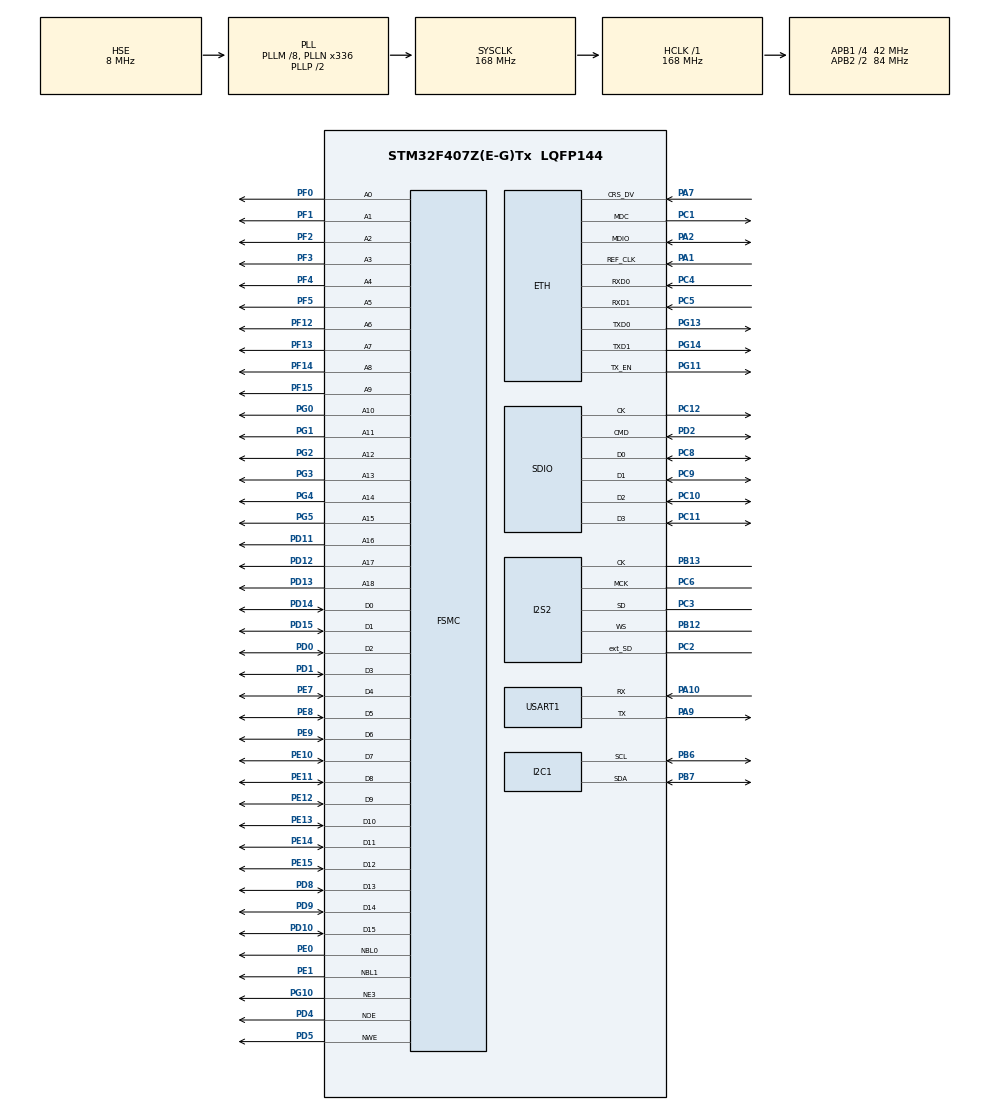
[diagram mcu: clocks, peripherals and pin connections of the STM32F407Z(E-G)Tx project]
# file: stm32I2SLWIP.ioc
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Dma.Request0=SPI2_TX
Dma.Request1=SDIO_RX
Dma.Request2=SDIO_TX
Dma.SDIO_RX.1.Direction=DMA_PERIPH_TO_MEMORY
Dma.SDIO_RX.1.FIFOMode=DMA_FIFOMODE_ENABLE
Dma.SDIO_RX.1.FIFOThreshold=DMA_FIFO_THRESHOLD_FULL
Dma.SDIO_RX.1.Instance=DMA2_Stream3
Dma.SDIO_RX.1.MemBurst=DMA_MBURST_SINGLE
Dma.SDIO_RX.1.MemDataAlignment=DMA_MDATAALIGN_BYTE
Dma.SDIO_RX.1.MemInc=DMA_MINC_ENABLE
Dma.SDIO_RX.1.Mode=DMA_PFCTRL
Dma.SDIO_RX.1.PeriphBurst=DMA_PBURST_INC4
Dma.SDIO_RX.1.PeriphDataAlignment=DMA_PDATAALIGN_WORD
Dma.SDIO_RX.1.PeriphInc=DMA_PINC_DISABLE
Dma.SDIO_RX.1.Priority=DMA_PRIORITY_LOW
Dma.SDIO_TX.2.Direction=DMA_MEMORY_TO_PERIPH
Dma.SDIO_TX.2.FIFOMode=DMA_FIFOMODE_ENABLE
Dma.SDIO_TX.2.FIFOThreshold=DMA_FIFO_THRESHOLD_FULL
Dma.SDIO_TX.2.Instance=DMA2_Stream6
Dma.SDIO_TX.2.MemBurst=DMA_MBURST_SINGLE
Dma.SDIO_TX.2.MemDataAlignment=DMA_MDATAALIGN_BYTE
Dma.SDIO_TX.2.MemInc=DMA_MINC_ENABLE
Dma.SDIO_TX.2.Mode=DMA_PFCTRL
Dma.SDIO_TX.2.PeriphBurst=DMA_PBURST_INC4
Dma.SDIO_TX.2.PeriphDataAlignment=DMA_PDATAALIGN_WORD
Dma.SDIO_TX.2.PeriphInc=DMA_PINC_DISABLE
Dma.SDIO_TX.2.Priority=DMA_PRIORITY_LOW
Dma.SPI2_TX.0.Direction=DMA_MEMORY_TO_PERIPH
Dma.SPI2_TX.0.FIFOMode=DMA_FIFOMODE_ENABLE
Dma.SPI2_TX.0.FIFOThreshold=DMA_FIFO_THRESHOLD_FULL
Dma.SPI2_TX.0.Instance=DMA1_Stream4
Dma.SPI2_TX.0.MemBurst=DMA_MBURST_SINGLE
Dma.SPI2_TX.0.MemDataAlignment=DMA_MDATAALIGN_HALFWORD
Dma.SPI2_TX.0.MemInc=DMA_MINC_ENABLE
Dma.SPI2_TX.0.Mode=DMA_NORMAL
Dma.SPI2_TX.0.PeriphBurst=DMA_PBURST_SINGLE
Dma.SPI2_TX.0.PeriphDataAlignment=DMA_PDATAALIGN_HALFWORD
Dma.SPI2_TX.0.PeriphInc=DMA_PINC_DISABLE
Dma.SPI2_TX.0.Priority=DMA_PRIORITY_LOW
ETH.MediaInterface=ETH_MEDIA_INTERFACE_RMII
ETH.PHY_DUPLEX_STATUS=0x0010
ETH.PHY_Name_RMII=DP83848_PHY_ADDRESS
ETH.PHY_SPEED_STATUS=0x0004
ETH.PHY_SR=0x31
FATFS.USE_DMA_CODE_SD=1
FATFS._CODE_PAGE=936
FATFS._MAX_SS=4096
FSMC.AddressSetupTime3=5
FSMC.BusTurnAroundDuration3=0
FSMC.DataSetupTime3=6
FSMC.WriteOperation3=FSMC_WRITE_OPERATION_ENABLE
I2S2.AudioFreq=I2S_AUDIOFREQ_16K
I2S2.ErrorAudioFreq=1.9 %
I2S2.FullDuplexMode=I2S_FULLDUPLEXMODE_ENABLE
I2S2.Instance=SPI$Index
I2S2.RealAudioFreq=16.304 KHz
I2S2.VirtualMode=I2S_MODE_MASTER
LWIP.GATEWAY_ADDRESS=192.168.001.001
LWIP.IP_ADDRESS=192.168.001.199
LWIP.LWIP_DHCP=0
LWIP.MEMP_NUM_TCP_SEG=1000
LWIP.MEM_SIZE=16*1024
LWIP.NETMASK_ADDRESS=255.255.255.000
LWIP.PBUF_POOL_BUFSIZE=1024
LWIP.TCP_MSS=1024
LWIP.TCP_SND_BUF=4096
LWIP.TCP_SND_QUEUELEN=1000
LWIP.TCP_WND=4096
LWIP.Version=v2.1.2_Cube
Mcu.Family=STM32F4
Mcu.Name=STM32F407Z(E-G)Tx
Mcu.Package=LQFP144
NVIC.DMA1_Stream4_IRQn=true\:2\:0\:true\:false\:true\:false\:true
NVIC.DMA2_Stream3_IRQn=true\:0\:0\:false\:false\:true\:false\:true
NVIC.DMA2_Stream6_IRQn=true\:0\:0\:false\:false\:true\:false\:true
NVIC.ETH_IRQn=true\:3\:0\:true\:false\:true\:true\:true
NVIC.PriorityGroup=NVIC_PRIORITYGROUP_4
NVIC.SDIO_IRQn=true\:0\:0\:false\:false\:true\:true\:true
PA1.Mode=RMII
PA1.Signal=ETH_REF_CLK
PA10.Mode=Asynchronous
PA10.Signal=USART1_RX
PA2.Mode=RMII
PA2.Signal=ETH_MDIO
PA7.Mode=RMII
PA7.Signal=ETH_CRS_DV
PA9.Mode=Asynchronous
PA9.Signal=USART1_TX
PB12.Mode=Full_Duplex_Master
PB12.Signal=I2S2_WS
PB13.Mode=Full_Duplex_Master
PB13.Signal=I2S2_CK
PB6.GPIO_Pu=GPIO_PULLUP
PB6.Mode=I2C
PB6.Signal=I2C1_SCL
PB7.GPIO_Pu=GPIO_PULLUP
PB7.Mode=I2C
PB7.Signal=I2C1_SDA
PC1.Mode=RMII
PC1.Signal=ETH_MDC
PC10.Mode=SD_4_bits_Wide_bus
PC10.Signal=SDIO_D2
PC11.Mode=SD_4_bits_Wide_bus
PC11.Signal=SDIO_D3
PC12.Mode=SD_4_bits_Wide_bus
PC12.Signal=SDIO_CK
PC2.Mode=Full_Duplex_Master
PC2.Signal=I2S2_ext_SD
PC3.Mode=Full_Duplex_Master
PC3.Signal=I2S2_SD
PC4.Mode=RMII
PC4.Signal=ETH_RXD0
PC5.Mode=RMII
PC5.Signal=ETH_RXD1
PC6.Mode=Master_Clock_Activated
PC6.Signal=I2S2_MCK
PC8.Mode=SD_4_bits_Wide_bus
PC8.Signal=SDIO_D0
PC9.Mode=SD_4_bits_Wide_bus
PC9.Signal=SDIO_D1
PD0.Signal=FSMC_D2_DA2
PD1.Signal=FSMC_D3_DA3
PD10.Signal=FSMC_D15_DA15
PD11.Signal=FSMC_A16_CLE
PD12.Signal=FSMC_A17_ALE
PD13.Signal=FSMC_A18
PD14.Signal=FSMC_D0_DA0
PD15.Signal=FSMC_D1_DA1
PD2.Mode=SD_4_bits_Wide_bus
PD2.Signal=SDIO_CMD
PD4.Signal=FSMC_NOE
PD5.Signal=FSMC_NWE
PD8.Signal=FSMC_D13_DA13
PD9.Signal=FSMC_D14_DA14
PE0.Signal=FSMC_NBL0
PE1.Signal=FSMC_NBL1
PE10.Signal=FSMC_D7_DA7
PE11.Signal=FSMC_D8_DA8
PE12.Signal=FSMC_D9_DA9
PE13.Signal=FSMC_D10_DA10
PE14.Signal=FSMC_D11_DA11
PE15.Signal=FSMC_D12_DA12
PE7.Signal=FSMC_D4_DA4
PE8.Signal=FSMC_D5_DA5
PE9.Signal=FSMC_D6_DA6
PF0.Signal=FSMC_A0
PF1.Signal=FSMC_A1
PF12.Signal=FSMC_A6
PF13.Signal=FSMC_A7
PF14.Signal=FSMC_A8
PF15.Signal=FSMC_A9
PF2.Signal=FSMC_A2
PF3.Signal=FSMC_A3
PF4.Signal=FSMC_A4
PF5.Signal=FSMC_A5
PG0.Signal=FSMC_A10
PG1.Signal=FSMC_A11
PG10.Mode=NorPsramChipSelect3_3
PG10.Signal=FSMC_NE3
PG11.Mode=RMII
PG11.Signal=ETH_TX_EN
PG13.Mode=RMII
PG13.Signal=ETH_TXD0
PG14.Mode=RMII
PG14.Signal=ETH_TXD1
PG2.Signal=FSMC_A12
PG3.Signal=FSMC_A13
PG4.Signal=FSMC_A14
PG5.Signal=FSMC_A15
PH0-OSC_IN.Mode=HSE-External-Oscillator
PH0-OSC_IN.Signal=RCC_OSC_IN
PH1-OSC_OUT.Mode=HSE-External-Oscillator
PH1-OSC_OUT.Signal=RCC_OSC_OUT
ProjectManager.HeapSize=0x1000
ProjectManager.StackSize=0x1100
ProjectManager.TargetToolchain=STM32CubeIDE
RCC.48MHZClocksFreq_Value=48000000
RCC.AHBFreq_Value=168000000
RCC.APB1CLKDivider=RCC_HCLK_DIV4
RCC.APB1Freq_Value=42000000
RCC.APB1TimFreq_Value=84000000
RCC.APB2CLKDivider=RCC_HCLK_DIV2
RCC.APB2Freq_Value=84000000
RCC.APB2TimFreq_Value=168000000
RCC.CortexFreq_Value=168000000
RCC.HCLKFreq_Value=168000000
RCC.HSE_VALUE=8000000
RCC.HSI_VALUE=16000000
RCC.LSE_VALUE=32768
RCC.PLLM=8
RCC.PLLN=336
RCC.PLLQ=7
RCC.PLLSourceVirtual=RCC_PLLSOURCE_HSE
RCC.SYSCLKFreq_VALUE=168000000
RCC.SYSCLKSource=RCC_SYSCLKSOURCE_PLLCLK
RCC.VCOOutputFreq_Value=336000000
SDIO.ClockDiv=2
SH.FSMC_A0.0=FSMC_A0,19b-a3
SH.FSMC_A1.0=FSMC_A1,19b-a3
SH.FSMC_A10.0=FSMC_A10,19b-a3
SH.FSMC_A11.0=FSMC_A11,19b-a3
SH.FSMC_A12.0=FSMC_A12,19b-a3
SH.FSMC_A13.0=FSMC_A13,19b-a3
SH.FSMC_A14.0=FSMC_A14,19b-a3
SH.FSMC_A15.0=FSMC_A15,19b-a3
SH.FSMC_A16_CLE.0=FSMC_A16,19b-a3
SH.FSMC_A17_ALE.0=FSMC_A17,19b-a3
SH.FSMC_A18.0=FSMC_A18,19b-a3
SH.FSMC_A2.0=FSMC_A2,19b-a3
SH.FSMC_A3.0=FSMC_A3,19b-a3
SH.FSMC_A4.0=FSMC_A4,19b-a3
SH.FSMC_A5.0=FSMC_A5,19b-a3
SH.FSMC_A6.0=FSMC_A6,19b-a3
SH.FSMC_A7.0=FSMC_A7,19b-a3
SH.FSMC_A8.0=FSMC_A8,19b-a3
SH.FSMC_A9.0=FSMC_A9,19b-a3
SH.FSMC_D0_DA0.0=FSMC_D0,16b-d3
SH.FSMC_D10_DA10.0=FSMC_D10,16b-d3
SH.FSMC_D11_DA11.0=FSMC_D11,16b-d3
SH.FSMC_D12_DA12.0=FSMC_D12,16b-d3
SH.FSMC_D13_DA13.0=FSMC_D13,16b-d3
SH.FSMC_D14_DA14.0=FSMC_D14,16b-d3
SH.FSMC_D15_DA15.0=FSMC_D15,16b-d3
SH.FSMC_D1_DA1.0=FSMC_D1,16b-d3
SH.FSMC_D2_DA2.0=FSMC_D2,16b-d3
SH.FSMC_D3_DA3.0=FSMC_D3,16b-d3
SH.FSMC_D4_DA4.0=FSMC_D4,16b-d3
SH.FSMC_D5_DA5.0=FSMC_D5,16b-d3
SH.FSMC_D6_DA6.0=FSMC_D6,16b-d3
SH.FSMC_D7_DA7.0=FSMC_D7,16b-d3
SH.FSMC_D8_DA8.0=FSMC_D8,16b-d3
SH.FSMC_D9_DA9.0=FSMC_D9,16b-d3
SH.FSMC_NBL0.0=FSMC_NBL0,2ByteEnable3
SH.FSMC_NBL1.0=FSMC_NBL1,2ByteEnable3
SH.FSMC_NOE.0=FSMC_NOE,Sram3
SH.FSMC_NWE.0=FSMC_NWE,Sram3
USART1.VirtualMode=VM_ASYNC
VP_FATFS_VS_SDIO.Mode=SDIO
VP_LWIP_VS_Enabled.Mode=Enabled
board=custom

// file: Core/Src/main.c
/* USER CODE BEGIN Header */
/**
 ******************************************************************************
 * @file           : main.c
 * @brief          : Main program body
 ******************************************************************************
 * @attention
 *
 * Copyright (c) 2025 STMicroelectronics.
 * All rights reserved.
 *
 * This software is licensed under terms that can be found in the LICENSE file
 * in the root directory of this software component.
 * If no LICENSE file comes with this software, it is provided AS-IS.
 *
 ******************************************************************************
 */
/* USER CODE END Header */
#include "main.h"
#include "fatfs.h"
#include "lwip.h"

/* USER CODE BEGIN Includes */
#include "stdio.h"
#include "tcpClientRAW.h"
#include "i2s.h"
#define MUL 20
#define AKA (MUL*10/4)
#include "audio_player.h"
extern FATFS UsbDiskFatFs2;
extern FRESULT res2;
/* USER CODE END Includes */

/* USER CODE BEGIN PTD */
#include <string.h>
/* USER CODE END PTD */

/* USER CODE BEGIN PM */
extern FATFS UsbDiskFatFs2;
char UsbDiskPath[4] = { 0 };
extern FRESULT res2;

/* USER CODE END PM */

I2C_HandleTypeDef hi2c1;

I2S_HandleTypeDef hi2s2;
DMA_HandleTypeDef hdma_spi2_tx;

SD_HandleTypeDef hsd;
DMA_HandleTypeDef hdma_sdio_rx;
DMA_HandleTypeDef hdma_sdio_tx;

UART_HandleTypeDef huart1;

SRAM_HandleTypeDef hsram3;

void SystemClock_Config(void);
static void MX_GPIO_Init(void);
static void MX_DMA_Init(void);
static void MX_I2S2_Init(void);
static void MX_I2C1_Init(void);
static void MX_FSMC_Init(void);
static void MX_SDIO_SD_Init(void);
static void MX_USART1_UART_Init(void);

/* USER CODE BEGIN 0 */

#ifdef __GNUC__
/* With GCC, small printf (option LD Linker->Libraries->Small printf
 set to 'Yes') calls __io_putchar() */
int __io_putchar(int ch)
#else
int fputc(int ch, FILE *f)
#endif /* __GNUC__ */
{
	/* Place your implementation of fputc here */
	/* e.g. write a character to the UART3 and Loop until the end of transmission */
	HAL_UART_Transmit(&huart1, (uint8_t*) &ch, 1, HAL_MAX_DELAY);
	return ch;
}

/* USER CODE END 0 */

int main(void)
{

  /* MCU Configuration--------------------------------------------------------*/

  /* Reset of all peripherals, Initializes the Flash interface and the Systick. */
  HAL_Init();

  /* Configure the system clock */
  SystemClock_Config();

  /* Initialize all configured peripherals */
  MX_GPIO_Init();
  MX_DMA_Init();
  MX_I2S2_Init();
  MX_LWIP_Init();
  MX_I2C1_Init();
  MX_FSMC_Init();
  MX_SDIO_SD_Init();
  MX_USART1_UART_Init();
  MX_FATFS_Init();
  /* USER CODE BEGIN 2 */
//    while(APPLICATION_READY!=Appli_state){
//  	  MX_USB_HOST_Process();
//    }

//	i2srecbuf1 = (uint8_t*)malloc(4096);
//	i2srecbuf2 = (uint8_t*)malloc(4096);
//f_mkdir("0:\\etcdh");
	//FIL * f_rec;

	//why add the blew char array ,the system can run;
	Audio_Player_Init();
	WM8978_HPvol_Set(40, 40);	//耳机音量设置
	WM8978_SPKvol_Set(50);	//喇叭音量设置
	HAL_Delay(1000);
	WM8978_ADDA_Cfg(0, 1);		//�??????????????????????????启ADC
	WM8978_Input_Cfg(1, 1, 0);	//�??????????????????????????启输入�?�道(MIC&LINE IN)
	WM8978_Output_Cfg(0, 1);		//�??????????????????????????启BYPASS输出
	WM8978_MIC_Gain(46);		//MIC增益设置
	WM8978_I2S_Cfg(2, 0);//飞利浦标�??????????????????????????,16位数据长�??????????????????????????
	printf("===>%d\n",AKA);
	//ETX_MSC_ProcessUsbDevice();

	res2 = f_mount(&UsbDiskFatFs2, (TCHAR const*) UsbDiskPath, 0);
//	printf("f_mount %d \n", res2);
//
//	uint32_t byteswritten; /* File write/read counts */
//	uint8_t wr_data[] = "Welcome to EmbeTronicX!!!";
//	FIL file;
//	res2 = f_open(&file, "hello.txt", (FA_CREATE_ALWAYS | FA_WRITE));
//	printf("f_open %d %d\n", res2,FR_OK);
//
//	res2 = f_write(&file, wr_data, sizeof(wr_data), (void*) &byteswritten);
//	printf("f_write %d\n", res2);
//	f_close(&file);
	tcp_client_init();

  /* USER CODE END 2 */

  /* Infinite loop */
  /* USER CODE BEGIN WHILE */
	while (1) {

		MX_LWIP_Process();
    /* USER CODE END WHILE */

	}
}

void SystemClock_Config(void)
{
  RCC_OscInitTypeDef RCC_OscInitStruct = {0};
  RCC_ClkInitTypeDef RCC_ClkInitStruct = {0};

  /** Configure the main internal regulator output voltage
  */
  __HAL_RCC_PWR_CLK_ENABLE();
  __HAL_PWR_VOLTAGESCALING_CONFIG(PWR_REGULATOR_VOLTAGE_SCALE1);
  /** Initializes the RCC Oscillators according to the specified parameters
  * in the RCC_OscInitTypeDef structure.
  */
  RCC_OscInitStruct.OscillatorType = RCC_OSCILLATORTYPE_HSE;
  RCC_OscInitStruct.HSEState = RCC_HSE_ON;
  RCC_OscInitStruct.PLL.PLLState = RCC_PLL_ON;
  RCC_OscInitStruct.PLL.PLLSource = RCC_PLLSOURCE_HSE;
  RCC_OscInitStruct.PLL.PLLM = 8;
  RCC_OscInitStruct.PLL.PLLN = 336;
  RCC_OscInitStruct.PLL.PLLP = RCC_PLLP_DIV2;
  RCC_OscInitStruct.PLL.PLLQ = 7;
  if (HAL_RCC_OscConfig(&RCC_OscInitStruct) != HAL_OK)
  {
    Error_Handler();
  }
  /** Initializes the CPU, AHB and APB buses clocks
  */
  RCC_ClkInitStruct.ClockType = RCC_CLOCKTYPE_HCLK|RCC_CLOCKTYPE_SYSCLK
                              |RCC_CLOCKTYPE_PCLK1|RCC_CLOCKTYPE_PCLK2;
  RCC_ClkInitStruct.SYSCLKSource = RCC_SYSCLKSOURCE_PLLCLK;
  RCC_ClkInitStruct.AHBCLKDivider = RCC_SYSCLK_DIV1;
  RCC_ClkInitStruct.APB1CLKDivider = RCC_HCLK_DIV4;
  RCC_ClkInitStruct.APB2CLKDivider = RCC_HCLK_DIV2;

  if (HAL_RCC_ClockConfig(&RCC_ClkInitStruct, FLASH_LATENCY_5) != HAL_OK)
  {
    Error_Handler();
  }
}

static void MX_I2C1_Init(void)
{

  hi2c1.Instance = I2C1;
  hi2c1.Init.ClockSpeed = 100000;
  hi2c1.Init.DutyCycle = I2C_DUTYCYCLE_2;
  hi2c1.Init.OwnAddress1 = 0;
  hi2c1.Init.AddressingMode = I2C_ADDRESSINGMODE_7BIT;
  hi2c1.Init.DualAddressMode = I2C_DUALADDRESS_DISABLE;
  hi2c1.Init.OwnAddress2 = 0;
  hi2c1.Init.GeneralCallMode = I2C_GENERALCALL_DISABLE;
  hi2c1.Init.NoStretchMode = I2C_NOSTRETCH_DISABLE;
  if (HAL_I2C_Init(&hi2c1) != HAL_OK)
  {
    Error_Handler();
  }

}

static void MX_I2S2_Init(void)
{

  hi2s2.Instance = SPI2;
  hi2s2.Init.Mode = I2S_MODE_MASTER_TX;
  hi2s2.Init.Standard = I2S_STANDARD_PHILIPS;
  hi2s2.Init.DataFormat = I2S_DATAFORMAT_16B;
  hi2s2.Init.MCLKOutput = I2S_MCLKOUTPUT_ENABLE;
  hi2s2.Init.AudioFreq = I2S_AUDIOFREQ_16K;
  hi2s2.Init.CPOL = I2S_CPOL_LOW;
  hi2s2.Init.ClockSource = I2S_CLOCK_PLL;
  hi2s2.Init.FullDuplexMode = I2S_FULLDUPLEXMODE_ENABLE;
  if (HAL_I2S_Init(&hi2s2) != HAL_OK)
  {
    Error_Handler();
  }

}

static void MX_SDIO_SD_Init(void)
{

  hsd.Instance = SDIO;
  hsd.Init.ClockEdge = SDIO_CLOCK_EDGE_RISING;
  hsd.Init.ClockBypass = SDIO_CLOCK_BYPASS_DISABLE;
  hsd.Init.ClockPowerSave = SDIO_CLOCK_POWER_SAVE_DISABLE;
  hsd.Init.BusWide = SDIO_BUS_WIDE_1B;
  hsd.Init.HardwareFlowControl = SDIO_HARDWARE_FLOW_CONTROL_DISABLE;
  hsd.Init.ClockDiv = 2;

}

static void MX_USART1_UART_Init(void)
{

  huart1.Instance = USART1;
  huart1.Init.BaudRate = 115200;
  huart1.Init.WordLength = UART_WORDLENGTH_8B;
  huart1.Init.StopBits = UART_STOPBITS_1;
  huart1.Init.Parity = UART_PARITY_NONE;
  huart1.Init.Mode = UART_MODE_TX_RX;
  huart1.Init.HwFlowCtl = UART_HWCONTROL_NONE;
  huart1.Init.OverSampling = UART_OVERSAMPLING_16;
  if (HAL_UART_Init(&huart1) != HAL_OK)
  {
    Error_Handler();
  }

}

static void MX_DMA_Init(void)
{

  /* DMA controller clock enable */
  __HAL_RCC_DMA1_CLK_ENABLE();
  __HAL_RCC_DMA2_CLK_ENABLE();

  /* DMA interrupt init */
  /* DMA1_Stream4_IRQn interrupt configuration */
  HAL_NVIC_SetPriority(DMA1_Stream4_IRQn, 2, 0);
  HAL_NVIC_EnableIRQ(DMA1_Stream4_IRQn);
  /* DMA2_Stream3_IRQn interrupt configuration */
  HAL_NVIC_SetPriority(DMA2_Stream3_IRQn, 0, 0);
  HAL_NVIC_EnableIRQ(DMA2_Stream3_IRQn);
  /* DMA2_Stream6_IRQn interrupt configuration */
  HAL_NVIC_SetPriority(DMA2_Stream6_IRQn, 0, 0);
  HAL_NVIC_EnableIRQ(DMA2_Stream6_IRQn);

}

static void MX_GPIO_Init(void)
{

  /* GPIO Ports Clock Enable */
  __HAL_RCC_GPIOF_CLK_ENABLE();
  __HAL_RCC_GPIOH_CLK_ENABLE();
  __HAL_RCC_GPIOC_CLK_ENABLE();
  __HAL_RCC_GPIOA_CLK_ENABLE();
  __HAL_RCC_GPIOG_CLK_ENABLE();
  __HAL_RCC_GPIOE_CLK_ENABLE();
  __HAL_RCC_GPIOB_CLK_ENABLE();
  __HAL_RCC_GPIOD_CLK_ENABLE();

}

/* FSMC initialization function */
static void MX_FSMC_Init(void)
{

  FSMC_NORSRAM_TimingTypeDef Timing = {0};

  /** Perform the SRAM3 memory initialization sequence
  */
  hsram3.Instance = FSMC_NORSRAM_DEVICE;
  hsram3.Extended = FSMC_NORSRAM_EXTENDED_DEVICE;
  /* hsram3.Init */
  hsram3.Init.NSBank = FSMC_NORSRAM_BANK3;
  hsram3.Init.DataAddressMux = FSMC_DATA_ADDRESS_MUX_DISABLE;
  hsram3.Init.MemoryType = FSMC_MEMORY_TYPE_SRAM;
  hsram3.Init.MemoryDataWidth = FSMC_NORSRAM_MEM_BUS_WIDTH_16;
  hsram3.Init.BurstAccessMode = FSMC_BURST_ACCESS_MODE_DISABLE;
  hsram3.Init.WaitSignalPolarity = FSMC_WAIT_SIGNAL_POLARITY_LOW;
  hsram3.Init.WrapMode = FSMC_WRAP_MODE_DISABLE;
  hsram3.Init.WaitSignalActive = FSMC_WAIT_TIMING_BEFORE_WS;
  hsram3.Init.WriteOperation = FSMC_WRITE_OPERATION_ENABLE;
  hsram3.Init.WaitSignal = FSMC_WAIT_SIGNAL_DISABLE;
  hsram3.Init.ExtendedMode = FSMC_EXTENDED_MODE_DISABLE;
  hsram3.Init.AsynchronousWait = FSMC_ASYNCHRONOUS_WAIT_DISABLE;
  hsram3.Init.WriteBurst = FSMC_WRITE_BURST_DISABLE;
  hsram3.Init.PageSize = FSMC_PAGE_SIZE_NONE;
  /* Timing */
  Timing.AddressSetupTime = 5;
  Timing.AddressHoldTime = 15;
  Timing.DataSetupTime = 6;
  Timing.BusTurnAroundDuration = 0;
  Timing.CLKDivision = 16;
  Timing.DataLatency = 17;
  Timing.AccessMode = FSMC_ACCESS_MODE_A;
  /* ExtTiming */

  if (HAL_SRAM_Init(&hsram3, &Timing, NULL) != HAL_OK)
  {
    Error_Handler( );
  }

}

void Error_Handler(void)
{
	__disable_irq();
	while (1) {
	}
}
